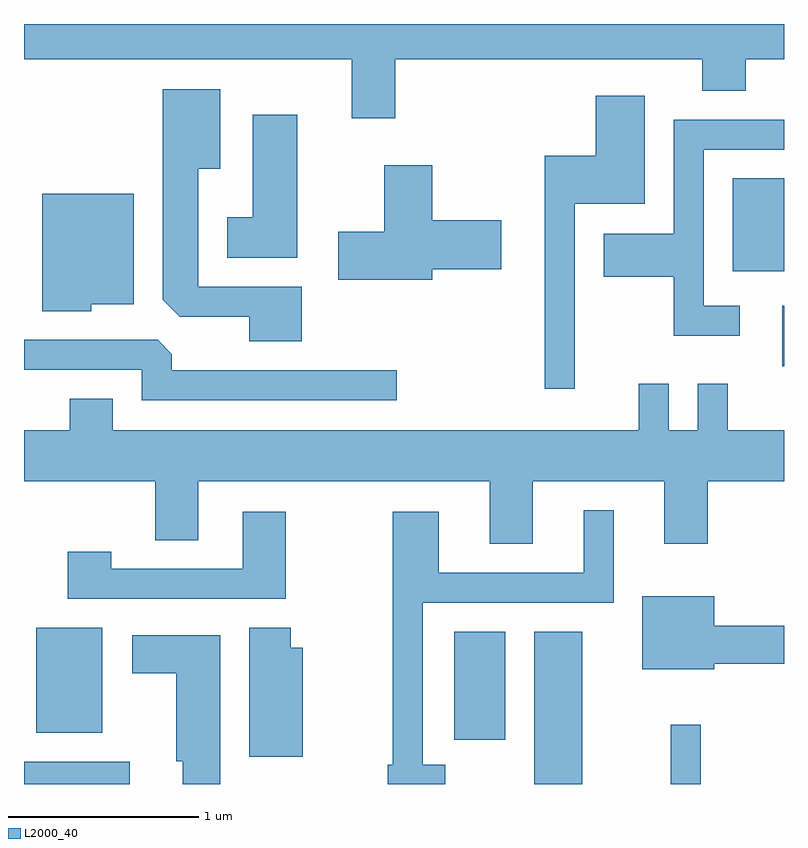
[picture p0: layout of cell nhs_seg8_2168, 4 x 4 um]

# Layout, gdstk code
import gdstk
lib = gdstk.Library(unit=1e-6, precision=1e-09)
def R(c, l, rs):  # rectangles x0, y0, x1, y1
    for r in rs: c.add(gdstk.rectangle(r[:2], r[2:], *l))
def P(c, l, *ps):  # polygons
    for p in ps: c.add(gdstk.Polygon(p, *l))
L2000_40 = (2000, 40)

nhs_seg8_2168 = lib.new_cell('nhs_seg8_2168')
R(nhs_seg8_2168, L2000_40, [(249.611,1870.342,250.168,1870.459), (252.296,1870.342,252.549,1871.144), (253.016,1870.342,253.174,1870.653), (251.876,1870.576,252.144,1871.144), (249.676,1870.611,250.024,1871.164), (253.601,1872.541,253.611,1872.859), (253.341,1873.041,253.611,1873.529)])
P(nhs_seg8_2168, L2000_40, [(251.564,1874.156),(253.181,1874.156),(253.181,1873.991),(253.409,1873.991),(253.409,1874.156),(253.611,1874.156),(253.611,1874.342),(249.611,1874.342),(249.611,1874.156),(251.336,1874.156),(251.336,1873.846),(251.564,1873.846)],
  [(251.074,1872.959),(250.529,1872.959),(250.529,1873.581),(250.644,1873.581),(250.644,1873.999),(250.341,1873.999),(250.341,1872.892),(250.432,1872.801),(250.796,1872.801),(250.796,1872.671),(251.074,1872.671)],
  [(252.509,1873.396),(252.879,1873.396),(252.879,1873.964),(252.621,1873.964),(252.621,1873.649),(252.351,1873.649),(252.351,1872.423),(252.509,1872.423)],
  [(251.049,1873.864),(250.816,1873.864),(250.816,1873.324),(250.681,1873.324),(250.681,1873.111),(251.049,1873.111)],
  [(253.378,1872.859),(253.189,1872.859),(253.189,1873.681),(253.611,1873.681),(253.611,1873.839),(253.031,1873.839),(253.031,1873.239),(252.661,1873.239),(252.661,1873.011),(253.031,1873.011),(253.031,1872.701),(253.378,1872.701)],
  [(251.759,1873.051),(252.124,1873.051),(252.124,1873.309),(251.759,1873.309),(251.759,1873.599),(251.506,1873.599),(251.506,1873.249),(251.266,1873.249),(251.266,1872.996),(251.759,1872.996)],
  [(249.964,1872.866),(250.189,1872.866),(250.189,1873.449),(249.706,1873.449),(249.706,1872.831),(249.964,1872.831)],
  [(251.573,1872.519),(250.389,1872.519),(250.389,1872.604),(250.314,1872.679),(249.611,1872.679),(249.611,1872.521),(250.231,1872.521),(250.231,1872.361),(251.573,1872.361)],
  [(252.289,1871.936),(252.981,1871.936),(252.981,1871.606),(253.209,1871.606),(253.209,1871.936),(253.611,1871.936),(253.611,1872.204),(253.314,1872.204),(253.314,1872.448),(253.156,1872.448),(253.156,1872.204),(253.004,1872.204),(253.004,1872.448),(252.846,1872.448),(252.846,1872.204),(250.079,1872.204),(250.079,1872.369),(249.851,1872.369),(249.851,1872.204),(249.611,1872.204),(249.611,1871.936),(250.301,1871.936),(250.301,1871.626),(250.529,1871.626),(250.529,1871.936),(252.061,1871.936),(252.061,1871.606),(252.289,1871.606)],
  [(251.829,1870.444),(251.709,1870.444),(251.709,1871.296),(252.714,1871.296),(252.714,1871.783),(252.556,1871.783),(252.556,1871.454),(251.794,1871.454),(251.794,1871.774),(251.551,1871.774),(251.551,1870.444),(251.526,1870.444),(251.526,1870.342),(251.829,1870.342)],
  [(250.989,1871.774),(250.761,1871.774),(250.761,1871.474),(250.069,1871.474),(250.069,1871.564),(249.841,1871.564),(249.841,1871.316),(250.989,1871.316)],
  [(253.244,1870.976),(253.611,1870.976),(253.611,1871.174),(253.244,1871.174),(253.244,1871.329),(252.866,1871.329),(252.866,1870.946),(253.244,1870.946)],
  [(251.079,1871.059),(251.014,1871.059),(251.014,1871.164),(250.796,1871.164),(250.796,1870.486),(251.079,1870.486)],
  [(250.644,1871.124),(250.181,1871.124),(250.181,1870.926),(250.411,1870.926),(250.411,1870.461),(250.446,1870.461),(250.446,1870.342),(250.644,1870.342)])

lib.write_gds('nhs_seg8_2168.gds')
